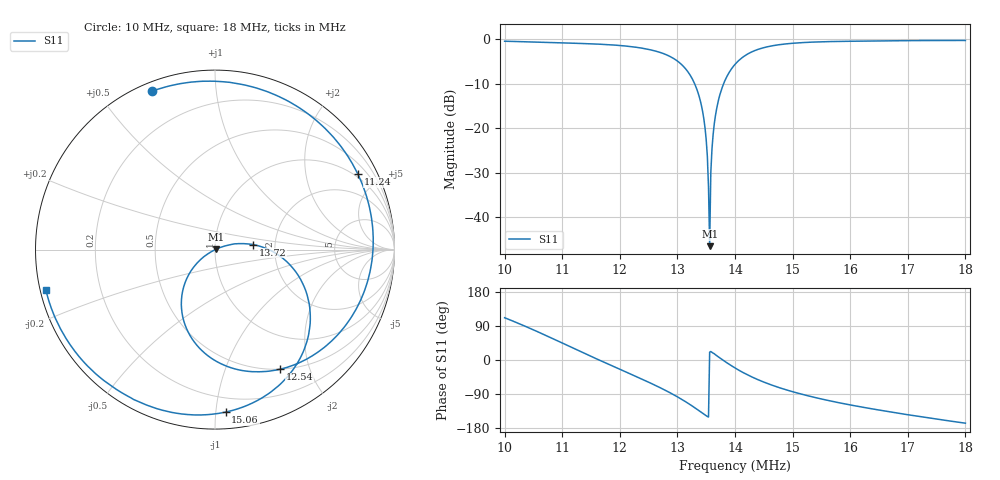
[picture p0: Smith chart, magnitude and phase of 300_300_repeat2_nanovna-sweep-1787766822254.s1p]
! S11 from 300_300_repeat2_nanovna-sweep-1787766822254.csv, converted by the rf-network-modeller history importer
# HZ S RI R 50
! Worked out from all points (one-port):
!   401 points, 10 MHz to 18 MHz, reference 50 ohm
!   lowest |S11| = -46.5 dB at 13.56 MHz (marker M1), VSWR 1.01, Z = 50.4 + j0.169 ohm
!   |S11| at or under -10 dB: 13.3 MHz to 13.8 MHz (502.5 kHz wide, 3.71 % of centre)
!   S11 on the Smith chart (normalised r, x): 10 MHz: 0.04, +0.68; 11.24 MHz: 0.86, +3.84; 12.54 MHz: 0.50, -1.57; 13.72 MHz: 1.54, +0.09; 15.06 MHz: 0.10, -1.06; 18 MHz: 0.02, -0.12
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1e7  -0.3491 0.8833
1.05e7  0.1686 0.9164
1.1e7  0.6448 0.6425
1.124e7  0.7957 0.4213
1.162e7  0.8811 0.021
1.2e7  0.7744 -0.3524
1.254e7  0.3632 -0.6664
1.278e7  0.1282 -0.669
1.3e7  -0.0708 -0.5646
1.322e7  -0.184 -0.3512
1.338e7  -0.1573 -0.1612
1.346e7  -0.1009 -0.076
1.35e7  -0.0627 -0.04
1.352e7  -0.0415 -0.0248
1.356e7  0.00444 0.00168
1.36e7  0.0546 0.0201
1.362e7  0.0805 0.0263
1.364e7  0.1074 0.0319
1.372e7  0.2144 0.0282
1.384e7  0.3586 -0.0338
1.4e7  0.4876 -0.1871
1.436e7  0.4907 -0.5712
1.466e7  0.3262 -0.7819
1.5e7  0.0992 -0.8955
1.506e7  0.0596 -0.9053
1.6e7  -0.4529 -0.8353
1.7e7  -0.7846 -0.5612
1.8e7  -0.9432 -0.2225
